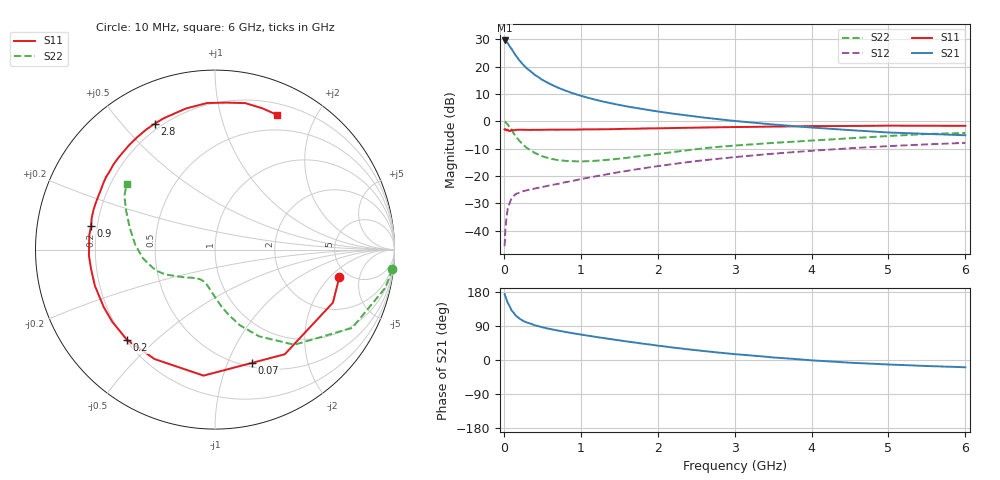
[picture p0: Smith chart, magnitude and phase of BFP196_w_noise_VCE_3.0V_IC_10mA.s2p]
! Infineon Technologies  Discrete & RF Semiconductors
! BFP196
! VCE =  3.0 V,  IC =  10 mA
! Common Emitter S-Parameters:  Jan 2017
# GHz  S  MA  R  50
!  f  S11  S21  S12  S22
! GHz  MAG  ANG  MAG  ANG  MAG  ANG  MAG  ANG
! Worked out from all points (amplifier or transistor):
!   77 points, 10 MHz to 6 GHz, reference 50 ohm
!   highest |S21| = 29.6 dB at 10 MHz (marker M1)
!   |S21| within 3 dB of that: start of sweep to 97.71 MHz
!   unconditionally stable (mu >= 1): 973.1 MHz to 2.383 GHz
!   at 130 MHz: K = 0.24, MSG = 26.2 dB, |S12| = -27.3 dB
!   at 2.2 GHz: K = 1.02, MAG = 8.3 dB, |S12| = -15.7 dB
!   at 6 GHz: K = 0.93, MSG = 1.4 dB, |S12| = -7.9 dB
!   lowest NFmin = 0.99 dB at 450 MHz
!   S11 on the Smith chart (normalised r, x): 10 MHz: 4.25, -2.59; 70 MHz: 0.54, -1.23; 200 MHz: 0.21, -0.41; 900 MHz: 0.18, +0.09; 2.8 GHz: 0.17, +0.62; 6 GHz: 0.32, +1.51
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0.01  0.7096 -12.3  30.12 173.8  0.0052 85.5  0.9944 -6.3
0.02  0.7204 -24.2  30.11 167.8  0.0103 81.1  0.9719 -12.7
0.05  0.7009 -56.3  26.96 150.9  0.0248 64.5  0.8804 -29.7
0.07  0.6641 -71.8  24.28 144.0  0.0302 57.2  0.7928 -36.7
0.1  0.705 -95.2  21.11 130.8  0.039 50.3  0.6902 -50.2
0.15  0.6966 -118.9  16.36 118.2  0.0464 41.8  0.5417 -63.1
0.2  0.702 -134.2  13.14 109.7  0.0495 38.0  0.4435 -71.8
0.25  0.6996 -144.9  10.89 103.3  0.0526 35.9  0.3737 -77.9
0.3  0.6977 -152.6  9.247 98.9  0.0548 35.1  0.3253 -82.9
0.4  0.699 -163.3  7.106 91.8  0.0588 36.0  0.2645 -90.1
0.5  0.6989 -171.2  5.738 86.4  0.0629 38.2  0.2291 -96.0
0.6  0.7033 -177.3  4.825 81.8  0.0674 39.7  0.208 -100.9
0.7  0.7018 177.9  4.145 77.9  0.0716 42.2  0.1952 -105.2
0.9  0.7029 169.3  3.243 70.5  0.0816 45.0  0.1863 -112.5
1.1  0.7121 162.0  2.681 64.0  0.093 47.6  0.1869 -119.1
1.5  0.7236 149.4  1.99 51.9  0.1177 49.4  0.2074 -131.1
2.1  0.7482 132.1  1.446 35.5  0.1581 48.3  0.2629 -145.8
2.8  0.7781 115.6  1.089 19.4  0.2073 43.1  0.3415 -159.3
3.1  0.7873 109.3  0.986 13.9  0.2279 40.2  0.368 -165.5
4.1  0.8175 91.4  0.753 -2.1  0.2954 29.7  0.4525 174.3
5.1  0.8318 76.9  0.617 -12.7  0.357 17.8  0.5476 155.1
6  0.8265 65.5  0.556 -19.2  0.4036 7.1  0.612 143.6
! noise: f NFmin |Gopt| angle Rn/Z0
0.45  0.99  0.35  147  0.06
0.9  1.29  0.5  174  0.05
1.9  2.4  0.7  -139  0.25
2.4  2.9  0.73  -123  0.68
